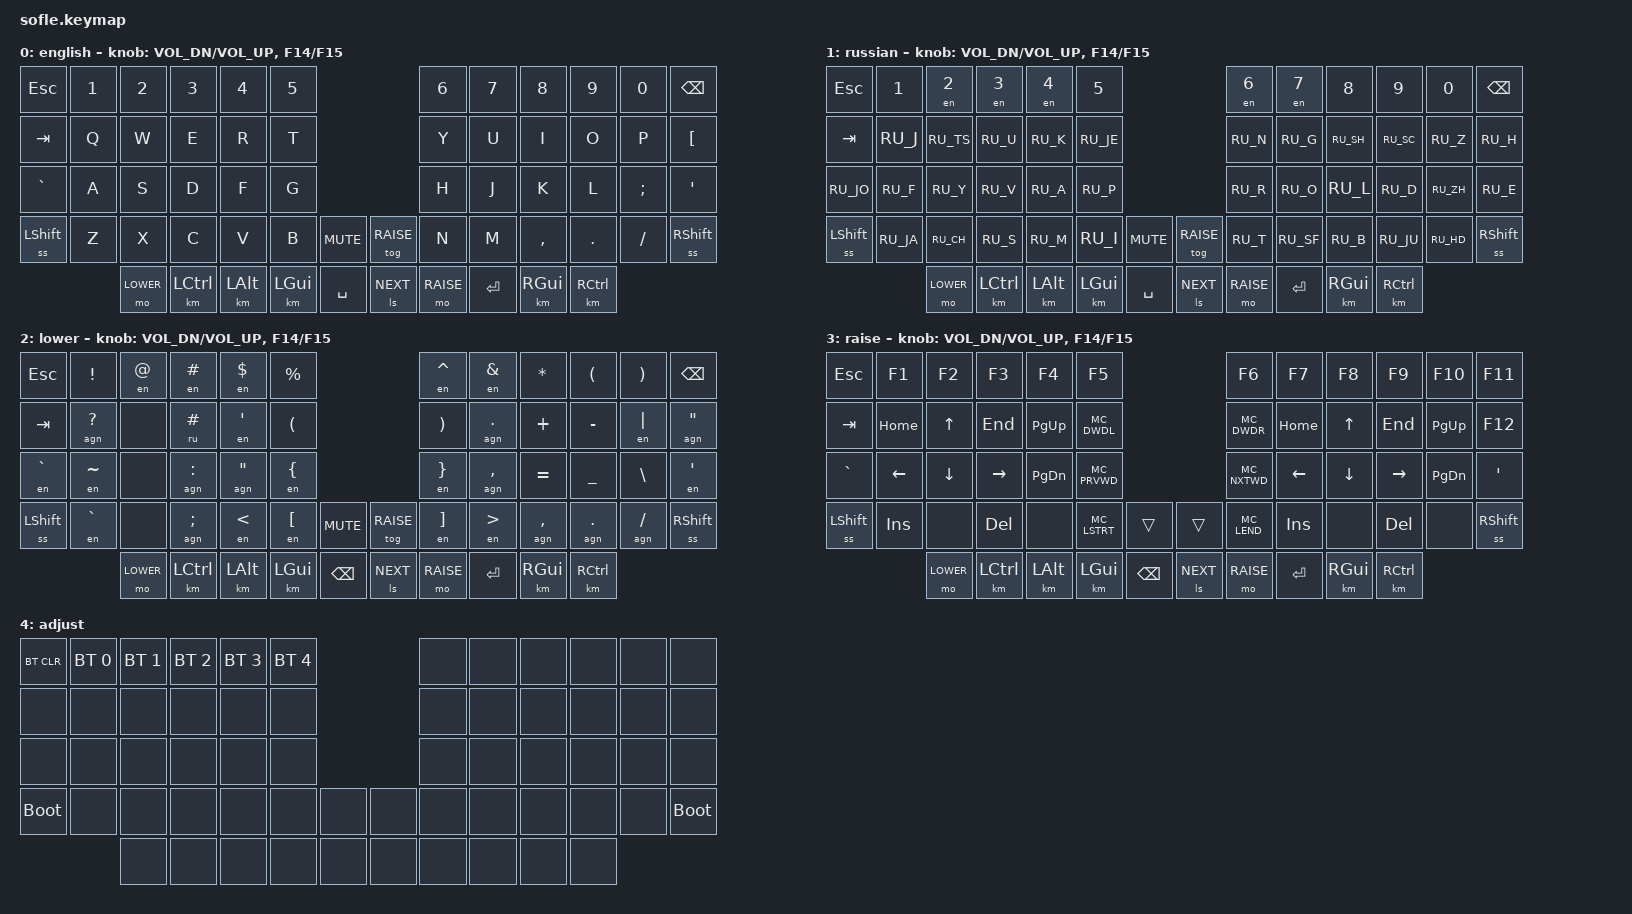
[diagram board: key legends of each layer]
/*
 * Copyright (c) 2020 The ZMK Contributors
 *
 * SPDX-License-Identifier: MIT
 */

#include <behaviors.dtsi>
#include <dt-bindings/zmk/keys.h>
#include <dt-bindings/zmk/bt.h>
#include <dt-bindings/zmk/rgb.h>
#include <dt-bindings/zmk/ext_power.h>

#include "definitions/russian_keys.dtsi"
#include "definitions/navigations.dtsi"

#define ENGLISH 0
#define RUSSIAN 1
#define LOWER 2
#define RAISE 3
#define ADJUST 4
#define NEXT 255

#include "definitions/behaviors.dtsi"

// Коды для MacOS для уменьшения и увеличения яркости экрана - F14 F15

// https://keymap-drawer.streamlit.app/
// for auto-visualization
/ {

   // Activate ADJUST layer by pressing raise and lower
    conditional_layers {
        compatible = "zmk,conditional-layers";
        adjust_layer {
            if-layers = <LOWER RAISE>;
            then-layer = <ADJUST>;
        };
    };

    keymap {
        compatible = "zmk,keymap";

        english_layer {
            display-name = "english";
//
// EN
// ,-----------------------------------------.                    ,-----------------------------------------.
// | ESC  |   1  |   2  |   3  |   4  |   5  |                    |   6  |   7  |   8  |   9  |   0  | Bspc |
// |------+------+------+------+------+------|                    |------+------+------+------+------+------|
// | TAB  |   q  |   w  |   e  |   r  |   t  |                    |   y  |   u  |   i  |   o  |   p  |   [  |
// |------+------+------+------+------+------|                    |------+------+------+------+------+------|
// |   `  |   a  |   s  |   d  |   f  |   g  |-------.    ,-------|   h  |   j  |   k  |   l  |   ;  |   '  |
// |------+------+------+------+------+------|  MUTE |    |       |------+------+------+------+------+------|
// | Shift|   z  |   x  |   c  |   v  |   b  |-------|    |-------|   n  |   m  |   ,  |   .  |   /  | Shift|
// `-----------------------------------------/       /     \      \-----------------------------------------'
//            | LOWER| CTR  |  Alt |. GUI | /Space  /       \RU/EN \  | RAISE|Enter |  GUI |  CTR |
//            |      |      |      |      |/       /         \      \ |      |      |      |      |
//            `----------------------------------'            '------''---------------------------'
//
            bindings = <

&kp ESC    &kp N1   &kp N2   &kp N3   &kp N4    &kp N5                           &kp N6   &kp N7    &kp N8    &kp N9   &kp N0    &kp BSPC
&kp TAB    &kp Q    &kp W    &kp E    &kp R     &kp T                            &kp Y    &kp U     &kp I     &kp O    &kp P     &kp LBKT
&kp GRAVE  &kp A    &kp S    &kp D    &kp F     &kp G                            &kp H    &kp J     &kp K     &kp L    &kp SEMI  &kp SQT
&ss LSHFT  &kp Z    &kp X    &kp C    &kp V     &kp B   &kp C_MUTE   &tog RAISE  &kp N    &kp M     &kp COMMA &kp DOT  &kp FSLH  &ss RSHFT

                &mo LOWER  &km LCTRL  &km LALT  &km LGUI  &kp SPACE   &ls NEXT  &mo RAISE  &kp RET   &km RGUI  &km RCTRL    
            >;
            sensor-bindings = <
                                      &inc_dec_kp C_VOL_DN C_VOL_UP   &inc_dec_kp F14 F15
            >;
        };

        russian_layer {
            display-name = "russian";
//
// RU
// ,-----------------------------------------.                    ,-----------------------------------------.
// | ESC  |   1  |   2  |   3  |   4  |   5  |                    |   6  |   7  |   8  |   9  |   0  | Bspc |
// |------+------+------+------+------+------|                    |------+------+------+------+------+------|
// | TAB  |   й  |   ц  |   у  |   к  |   е  |                    |   н  |   г  |   ш  |   щ  |   з  |   х  |
// |------+------+------+------+------+------|                    |------+------+------+------+------+------|
// |   ё  |   ф  |   ы  |   в  |   а  |   п  |-------.    ,-------|   р  |   о  |   л  |   д  |   ж  |   э  |
// |------+------+------+------+------+------|  MUTE |    |       |------+------+------+------+------+------|
// | Shift|   я  |   ч  |   с  |   м  |   и  |-------|    |-------|   т  |   ь  |   б  |   ю  |   ъ  | Shift|
// `-----------------------------------------/       /     \      \-----------------------------------------'
//            | LOWER| CTR  |  Alt |  GUI | /Space  /       \RU/EN \  | RAISE|Enter |  GUI |  CTR |
//            |      |      |      |      |/       /         \      \ |      |      |      |      |
//            `----------------------------------'            '------''---------------------------'
//
            bindings = <

&kp ESC    &kp N1    &en N2    &en N3   &en N4    &kp N5                             &en N6   &en N7    &kp N8    &kp N9    &kp N0    &kp BSPC
&kp TAB    &kp RU_J  &kp RU_TS &kp RU_U &kp RU_K  &kp RU_JE                          &kp RU_N &kp RU_G  &kp RU_SH &kp RU_SC &kp RU_Z  &kp RU_H
&kp RU_JO  &kp RU_F  &kp RU_Y  &kp RU_V &kp RU_A  &kp RU_P                           &kp RU_R &kp RU_O  &kp RU_L  &kp RU_D  &kp RU_ZH &kp RU_E
&ss LSHFT  &kp RU_JA &kp RU_CH &kp RU_S &kp RU_M  &kp RU_I  &kp C_MUTE   &tog RAISE  &kp RU_T &kp RU_SF &kp RU_B  &kp RU_JU &kp RU_HD &ss RSHFT

                   &mo LOWER  &km LCTRL  &km LALT  &km LGUI  &kp SPACE   &ls NEXT  &mo RAISE  &kp RET   &km RGUI  &km RCTRL    
            >;
           sensor-bindings = <
                                      &inc_dec_kp C_VOL_DN C_VOL_UP   &inc_dec_kp F14 F15
            >;
          };

        lower_layer {
            display-name = "lower";
//
// LOWER
// ,-----------------------------------------.                    ,-----------------------------------------.
// | ESC  |   !  |   @  |   #  |   $  |   %  |                    |   ˆ  |   &  |   *  |   (  |   )  | Bspc |
// |------+------+------+------+------+------|                    |------+------+------+------+------+------|
// | Tab  |   ?  |      |   №  |   '  |   (  |                    |   )  |   .  |   +  |   -  |   |  |   "  |
// |------+------+------+------+------+------|                    |------+------+------+------+------+------|
// |   `  |   ~  |      |   :  |   "  |   {  |-------.    ,-------|   }  |   ,  |   =  |   _  |   \  |   '  |
// |------+------+------+------+------+------|  MUTE |    |       |------+------+------+------+------+------|
// | Shift|   `  |      |   ;  |   <  |   [  |-------|    |-------|   ]  |   >  |   ,  |   .  |   /  | Shift|
// `-----------------------------------------/       /     \      \-----------------------------------------'
//            | LOWER| CTR  |  Alt |  GUI | / Bspc  /       \RU/EN \  | RAISE|Enter |  GUI |  CTR |
//            |      |      |      |      |/       /         \      \ |      |      |      |      |
//            `----------------------------------'            '------''---------------------------'
//
            bindings = <

&kp ESC    &kp EXCL   &en AT   &en HASH       &en DLLR  &kp PRCNT                         &en CARET &en AMPS   &kp STAR   &kp LPAR  &kp RPAR   &kp BSPC
&kp TAB    &agn QMARK &none    &ru HASH       &en APOS  &kp LPAR                          &kp RPAR  &agn DOT   &kp PLUS   &kp MINUS &en PIPE   &agn DQT
&en GRAVE  &en TILDE  &none    &agn COLON     &agn DQT  &en LBRC                          &en RBRC  &agn COMMA &kp EQUAL  &kp UNDER &kp BSLH   &en APOS
&ss LSHFT  &en GRAVE  &none    &agn SEMICOLON &en LT    &en LBKT &kp C_MUTE   &tog RAISE  &en RBKT  &en GT     &agn COMMA &agn DOT  &agn SLASH &ss RSHFT

                      &mo LOWER  &km LCTRL  &km LALT  &km LGUI  &kp BSPC    &ls NEXT  &mo RAISE  &kp RET   &km RGUI  &km RCTRL    
            >;
           sensor-bindings = <
                                      &inc_dec_kp C_VOL_DN C_VOL_UP   &inc_dec_kp F14 F15
            >;
          };

        raise_layer {
            display-name = "raise";
//
// RAISE
// ,-----------------------------------------.                    ,-----------------------------------------.
// | Esc  |  F1  |  F2  |  F3  |  F4  |  F5  |                    |  F6  |  F7  |  F8  |  F9  | F10  | F11  |
// |------+------+------+------+------+------|                    |------+------+------+------+------+------|
// | Tab  | Home |  Up  | End  | PgUp |<-WDel|                    |WDel->| Home |  Up  | End  | PgUp |  F12 |
// |------+------+------+------+------+------|                    |------+------+------+------+------+------|
// |   `  | Right| Down | Left | PgDn | <-Wrd|-------.    ,-------| Wrd->| Right| Down | Left | PgDn |   '  |
// |------+------+------+------+------+------|  MUTE |    |       |------+------+------+------+------+------|
// | Shift|  Ins |      |  Del |      |<-Line|-------|    |-------|Line->|  Ins |      |  Del |      | Shift|
// `-----------------------------------------/       /     \      \-----------------------------------------'
//            | LOWER| CTR  |  Alt |  GUI | / Bspc  /       \RU/EN \  | RAISE|Enter |  GUI |  CTR |
//            |      |      |      |      |/       /         \      \ |      |      |      |      |
//            `----------------------------------'            '------''---------------------------'
//
            bindings = <
&kp ESC    &kp F1    &kp F2   &kp F3    &kp F4    &kp F5                           &kp F6       &kp F7    &kp F8    &kp F9    &kp F10    &kp F11
&kp TAB    &kp HOME  &kp UP   &kp END   &kp PG_UP &kp MC_DWDL                      &kp MC_DWDR  &kp HOME  &kp UP    &kp END   &kp PG_UP  &kp F12
&kp GRAVE  &kp LEFT  &kp DOWN &kp RIGHT &kp PG_DN &kp MC_PRVWD                     &kp MC_NXTWD &kp LEFT  &kp DOWN  &kp RIGHT &kp PG_DN  &kp SQT
&ss LSHFT  &kp INS   &none    &kp DEL   &none     &kp MC_LSTRT &trans      &trans  &kp MC_LEND  &kp INS   &none     &kp DEL   &none      &ss RSHFT

                &mo LOWER  &km LCTRL  &km LALT  &km LGUI  &kp BSPC       &ls NEXT  &mo RAISE  &kp RET   &km RGUI  &km RCTRL
            >;
           sensor-bindings = <
                                      &inc_dec_kp C_VOL_DN C_VOL_UP   &inc_dec_kp F14 F15
            >;
          };

        adjust_layer {
            display-name = "adjust";
//
// ADJUST
// ,-----------------------------------------.                    ,-----------------------------------------.
// | BTCLR| BT0  | BT1  | BT2  | BT3  | BT4  |                    |      |      |      |      |      |      |
// |------+------+------+------+------+------|                    |------+------+------+------+------+------|
// |      |      |      |      |      |      |                    |      |      |      |      |      |      |
// |------+------+------+------+------+------|                    |------+------+------+------+------+------|
// |      |      |      |      |      |      |-------.    ,-------|      |      |      |      |      |      |
// |------+------+------+------+------+------|       |    |       |------+------+------+------+------+------|
// | BOOT |      |      |      |      |      |-------|    |-------|      |      |      |      |      | BOOT |
// `-----------------------------------------/       /     \      \-----------------------------------------'
//            |      |      |      |      | /       /       \      \  |      |      |      |      |
//            |      |      |      |      |/       /         \      \ |      |      |      |      |
//            `----------------------------------'            '------''---------------------------'
//
            bindings = <
&bt BT_CLR  &bt BT_SEL 0 &bt BT_SEL 1 &bt BT_SEL 2 &bt BT_SEL 3    &bt BT_SEL 4                  &none &none     &none &none     &none &none
&none       &none        &none        &none        &none           &none                         &none &none     &none &none     &none &none
&none       &none        &none        &none        &none           &none                         &none &none     &none &none     &none &none
&bootloader &none        &none        &none        &none           &none        &none     &none  &none &none     &none &none     &none &bootloader

                                                        &none &none &none &none &none     &none &none &none &none &none
            >;
        };

    };
};


/ {
    combos {
        compatible = "zmk,combos";
//
// COMBOS HORISONTAL
// ,-----------------------------------------.                    ,-----------------------------------------.
// |     [!]    [@]    [#]    [$]    [%]     |                    |     [ˆ]    [&]    [*]    [(]    [)]     |
// |------+------+------+------+------+------|                    |------+------+------+------+------+------|
// |     [?]    [ ]    [№]    [']    [(]     |                    |     [)]    [.]    [+]    [-]    [|]     |
// |------+------+------+------+------+------|                    |------+------+------+------+------+------|
// |     [˜]    [ ]    [:]    ["]    [{]     |-------.    ,-------|     [}]    [,]    [=]    [_]    [\]     |
// |------+------+------+------+------+------|       |    |       |------+------+------+------+------+------|
// |     [`]    [ ]    [;]    [<]    [[]     |-------|    |-------|     []]    [>]    [,]    [.]    [/]     |
// `-----------------------------------------/       /     \      \-----------------------------------------'
//            |      |      |      |      | /       /       \      \  |      |      |      |      |
//            |      |      |      |      |/       /         \      \ |      |      |      |      |
//            `----------------------------------'            '------''---------------------------'
//

        // ------ right row 4
        combo_r41 {
            timeout-ms = <30>;
            key-positions = <44 45>;
            bindings = <&en RBKT>;
        };
        combo_r42 {
            timeout-ms = <30>;
            key-positions = <45 46>;
            bindings = <&en GT>;
        };
        combo_r43 {
            timeout-ms = <30>;
            key-positions = <46 47>;
            bindings = <&agn COMMA>;
        };
        combo_r44 {
            timeout-ms = <30>;
            key-positions = <47 48>;
            bindings = <&agn DOT>;
        };
        combo_r45 {
            timeout-ms = <30>;
            key-positions = <48 49>;
            bindings = <&agn SLASH>;
        };

        // ------ right row 3
        combo_r31 {
            timeout-ms = <30>;
            key-positions = <30 31>;
            bindings = <&en RBRC>;
        };
        combo_r32 {
            timeout-ms = <30>;
            key-positions = <31 32>;
            bindings = <&agn COMMA>;
        };
        combo_r33 {
            timeout-ms = <30>;
            key-positions = <32 33>;
            bindings = <&kp EQUAL>;
        };
        combo_r34 {
            timeout-ms = <30>;
            key-positions = <33 34>;
            bindings = <&kp UNDER>;
        };
        combo_r35 {
            timeout-ms = <30>;
            key-positions = <34 35>;
            bindings = <&kp BSLH>;
        };


        // ------ right row 2
        combo_r21 {
            timeout-ms = <30>;
            key-positions = <18 19>;
            bindings = <&kp RPAR>;
        };
        combo_r22 {
            timeout-ms = <30>;
            key-positions = <19 20>;
            bindings = <&agn DOT>;
        };
        combo_r23 {
            timeout-ms = <30>;
            key-positions = <20 21>;
            bindings = <&kp PLUS>;
        };
        combo_r24 {
            timeout-ms = <30>;
            key-positions = <21 22>;
            bindings = <&kp MINUS>;
        };
        combo_r25 {
            timeout-ms = <30>;
            key-positions = <22 23>;
            bindings = <&en PIPE>;
        };

        // ------ right row 1
        combo_r11 {
            timeout-ms = <30>;
            key-positions = <6 7>;
            bindings = <&en CARET>;
        };
        combo_r12 {
            timeout-ms = <30>;
            key-positions = <7 8>;
            bindings = <&en AMPS>;
        };
        combo_r13 {
            timeout-ms = <30>;
            key-positions = <8 9>;
            bindings = <&kp STAR>;
        };
        combo_r14 {
            timeout-ms = <30>;
            key-positions = <9 10>;
            bindings = <&kp LPAR>;
        };
        combo_r15 {
            timeout-ms = <30>;
            key-positions = <10 11>;
            bindings = <&kp RPAR>;
        };

        // ------ left row 4
        combo_l41 {
            timeout-ms = <30>;
            key-positions = <36 37>;
            bindings = <&en GRAVE>;
        };
        combo_l42 {
            timeout-ms = <30>;
            key-positions = <37 38>;
            bindings = <&none>;
        };
        combo_l43 {
            timeout-ms = <30>;
            key-positions = <38 39>;
            bindings = <&agn SEMICOLON>;
        };
        combo_l44 {
            timeout-ms = <30>;
            key-positions = <39 40>;
            bindings = <&en LT>;
        };
        combo_l45 {
            timeout-ms = <30>;
            key-positions = <40 41>;
            bindings = <&en LBKT>;
        };

        // ------ left row 3
        combo_l31 {
            timeout-ms = <30>;
            key-positions = <24 25>;
            bindings = <&en TILDE>;
        };
        combo_l32 {
            timeout-ms = <30>;
            key-positions = <25 26>;
            bindings = <&none>;
        };
        combo_l33 {
            timeout-ms = <30>;
            key-positions = <26 27>;
            bindings = <&agn COLON>;
        };
        combo_l34 {
            timeout-ms = <30>;
            key-positions = <27 28>;
            bindings = <&agn DQT>;
        };
        combo_l35 {
            timeout-ms = <30>;
            key-positions = <28 29>;
            bindings = <&en LBRC>;
        };

        // ------ left row 2
        combo_l21 {
            timeout-ms = <30>;
            key-positions = <12 13>;
            bindings = <&agn QUESTION>;
        };
        combo_l22 {
            timeout-ms = <30>;
            key-positions = <13 14>;
            bindings = <&none>;
        };
        combo_l23 {
            timeout-ms = <30>;
            key-positions = <14 15>;
            bindings = <&ru HASH>;
        };
        combo_l24 {
            timeout-ms = <30>;
            key-positions = <15 16>;
            bindings = <&en APOSTROPHE>;
        };
        combo_l25 {
            timeout-ms = <30>;
            key-positions = <16 17>;
            bindings = <&kp LPAR>;
        };

        // ------ left row 1
        combo_l11 {
            timeout-ms = <30>;
            key-positions = <0 1>;
            bindings = <&kp EXCL>;
        };
        combo_l12 {
            timeout-ms = <30>;
            key-positions = <1 2>;
            bindings = <&en AT>;
        };
        combo_l13 {
            timeout-ms = <30>;
            key-positions = <2 3>;
            bindings = <&en HASH>;
        };
        combo_l14 {
            timeout-ms = <30>;
            key-positions = <3 4>;
            bindings = <&en DLLR>;
        };
        combo_l15 {
            timeout-ms = <30>;
            key-positions = <4 5>;
            bindings = <&kp PERCENT>;
        };

//
// COMBOS VERTICAL
// ,-----------------------------------------.                    ,-----------------------------------------.
// |      |      |      |      |      |      |                    |      |      |      |      |      |      |
// |------+-[F1]-+-[F2]-+-[F3]-+-[F4]-+-[F5]-|                    |-[F6]-+-[F7]-+-[F8]-+-[F9]-+-[F10]+-[F11]|
// |      |      |      |      |      |      |                    |      |      |      |      |      |      |
// |------+------+------+------+------+------|                    |------+------+------+------+------+-[F12]|
// |      |      |      |      |      |      |-------.    ,-------|      |      |      |      |      |      |
// |------+------+------+------+------+------|       |    |       |------+------+------+------+------+------|
// |      |      |      |      |      |      |-------|    |-------|      |      |      |      |      |      |
// `-----------------------------------------/       /     \      \-----------------------------------------'
//            |      |      |      |      | /       /       \      \  |      |      |      |      |
//            |      |      |      |      |/       /         \      \ |      |      |      |      |
//            `----------------------------------'            '------''---------------------------'
//
        combo_f1 {
            timeout-ms = <30>;
            key-positions = <1 13>;
            bindings = <&kp F1>;
        };
        combo_f2 {
            timeout-ms = <30>;
            key-positions = <2 14>;
            bindings = <&kp F2>;
        };
        combo_f3 {
            timeout-ms = <30>;
            key-positions = <3 15>;
            bindings = <&kp F3>;
        };
        combo_f4 {
            timeout-ms = <30>;
            key-positions = <4 16>;
            bindings = <&kp F4>;
        };
        combo_f5 {
            timeout-ms = <30>;
            key-positions = <5 17>;
            bindings = <&kp F5>;
        };
        combo_f6 {
            timeout-ms = <30>;
            key-positions = <6 18>;
            bindings = <&kp F6>;
        };
        combo_f7 {
            timeout-ms = <30>;
            key-positions = <7 19>;
            bindings = <&kp F7>;
        };
        combo_f8 {
            timeout-ms = <30>;
            key-positions = <8 20>;
            bindings = <&kp F8>;
        };
        combo_f9 {
            timeout-ms = <30>;
            key-positions = <9 21>;
            bindings = <&kp F9>;
        };
        combo_f10 {
            timeout-ms = <30>;
            key-positions = <10 22>;
            bindings = <&kp F10>;
        };
        combo_f11 {
            timeout-ms = <30>;
            key-positions = <11 23>;
            bindings = <&kp F11>;
        };
        combo_f12 {
            timeout-ms = <30>;
            key-positions = <23 35>;
            bindings = <&kp F12>;
        };

    };
};
